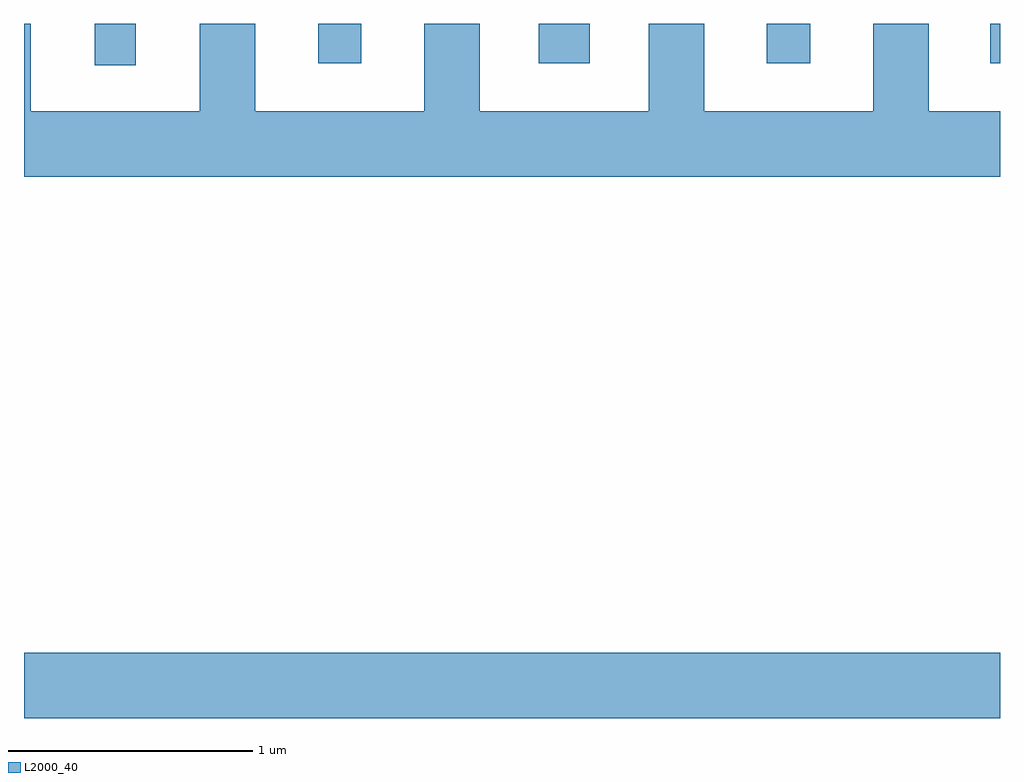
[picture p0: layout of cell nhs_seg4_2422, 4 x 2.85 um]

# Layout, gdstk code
import gdstk
lib = gdstk.Library(unit=1e-6, precision=1e-09)
def R(c, l, rs):  # rectangles x0, y0, x1, y1
    for r in rs: c.add(gdstk.rectangle(r[:2], r[2:], *l))
def P(c, l, *ps):  # polygons
    for p in ps: c.add(gdstk.Polygon(p, *l))
L2000_40 = (2000, 40)

nhs_seg4_2422 = lib.new_cell('nhs_seg4_2422')
R(nhs_seg4_2422, L2000_40, [(255.611,1339.136,259.611,1339.404), (255.901,1341.813,256.069,1341.982), (256.816,1341.821,256.994,1341.982), (257.721,1341.821,257.929,1341.982), (258.656,1341.821,258.834,1341.982), (259.571,1341.821,259.611,1341.982)])
P(nhs_seg4_2422, L2000_40, [(259.611,1341.624),(259.319,1341.624),(259.319,1341.982),(259.091,1341.982),(259.091,1341.624),(258.399,1341.624),(258.399,1341.982),(258.171,1341.982),(258.171,1341.624),(257.479,1341.624),(257.479,1341.982),(257.251,1341.982),(257.251,1341.624),(256.559,1341.624),(256.559,1341.982),(256.331,1341.982),(256.331,1341.624),(255.639,1341.624),(255.639,1341.982),(255.611,1341.982),(255.611,1341.356),(259.611,1341.356)])

lib.write_gds('nhs_seg4_2422.gds')
